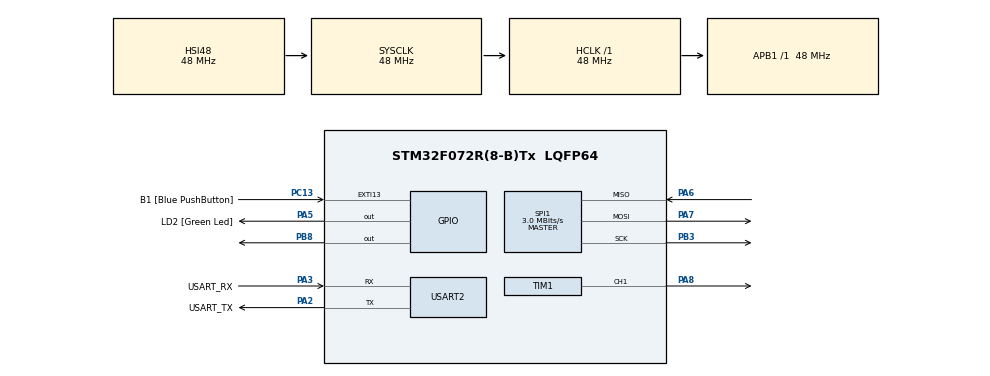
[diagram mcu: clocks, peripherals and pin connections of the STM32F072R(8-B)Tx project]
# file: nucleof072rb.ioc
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Mcu.Family=STM32F0
Mcu.Name=STM32F072R(8-B)Tx
Mcu.Package=LQFP64
PA0.Signal=S_TIM2_CH1_ETR
PA13.GPIO_Label=TMS
PA13.Mode=Serial_Wire
PA13.Signal=SYS_SWDIO
PA14.GPIO_Label=TCK
PA14.Mode=Serial_Wire
PA14.Signal=SYS_SWCLK
PA2.GPIO_Label=USART_TX
PA2.GPIO_Mode=GPIO_MODE_AF_PP
PA2.GPIO_PuPd=GPIO_NOPULL
PA2.GPIO_Speed=GPIO_SPEED_FREQ_LOW
PA2.Mode=Asynchronous
PA2.Signal=USART2_TX
PA3.GPIO_Label=USART_RX
PA3.GPIO_Mode=GPIO_MODE_AF_PP
PA3.GPIO_PuPd=GPIO_NOPULL
PA3.GPIO_Speed=GPIO_SPEED_FREQ_LOW
PA3.Mode=Asynchronous
PA3.Signal=USART2_RX
PA5.GPIO_Label=LD2 [Green Led]
PA5.GPIO_Mode=GPIO_MODE_OUTPUT_PP
PA5.GPIO_PuPd=GPIO_NOPULL
PA5.GPIO_Speed=GPIO_SPEED_FREQ_LOW
PA5.Signal=GPIO_Output
PA6.Mode=Full_Duplex_Master
PA6.Signal=SPI1_MISO
PA7.Mode=Full_Duplex_Master
PA7.Signal=SPI1_MOSI
PA8.Signal=S_TIM1_CH1
PB3.Mode=Full_Duplex_Master
PB3.Signal=SPI1_SCK
PB8.Signal=GPIO_Output
PC13.GPIO_Label=B1 [Blue PushButton]
PC13.GPIO_ModeDefaultEXTI=GPIO_MODE_IT_FALLING
PC13.Signal=GPXTI13
PC14-OSC32_IN.Mode=LSE-External-Oscillator
PC14-OSC32_IN.Signal=RCC_OSC32_IN
PC15-OSC32_OUT.Mode=LSE-External-Oscillator
PC15-OSC32_OUT.Signal=RCC_OSC32_OUT
PF0-OSC_IN.Mode=HSE-External-Clock-Source
PF0-OSC_IN.Signal=RCC_OSC_IN
PF1-OSC_OUT.Signal=RCC_OSC_OUT
ProjectManager.HeapSize=0x200
ProjectManager.StackSize=0x400
ProjectManager.TargetToolchain=STM32CubeIDE
RCC.AHBFreq_Value=48000000
RCC.APB1Freq_Value=48000000
RCC.APB1TimFreq_Value=48000000
RCC.FLatency-AdvancedSettings=FLASH_LATENCY_1
RCC.HCLKFreq_Value=48000000
RCC.PLLDivider=RCC_PREDIV_DIV2
RCC.PLLMUL=RCC_PLL_MUL12
RCC.PREFETCH_ENABLE-AdvancedSettings=1
RCC.SYSCLKFreq_VALUE=48000000
RCC.SYSCLKSource=RCC_SYSCLKSOURCE_HSI48
SH.S_TIM1_CH1.0=TIM1_CH1,PWM Generation1 CH1
SH.S_TIM2_CH1_ETR.0=TIM2_CH1
SPI1.BaudRatePrescaler=SPI_BAUDRATEPRESCALER_16
SPI1.CalculateBaudRate=3.0 MBits/s
SPI1.DataSize=SPI_DATASIZE_8BIT
SPI1.Direction=SPI_DIRECTION_2LINES
SPI1.Mode=SPI_MODE_MASTER
SPI1.VirtualType=VM_MASTER
TIM1.Channel-PWM\ Generation1\ CH1=TIM_CHANNEL_1
TIM1.Period=64000
TIM1.Prescaler=14
USART2.VirtualMode-Asynchronous=VM_ASYNC
VP_TIM1_VS_ClockSourceINT.Mode=Internal
board=NUCLEO-F072RB

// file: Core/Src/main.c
/* USER CODE BEGIN Header */
/**
  ******************************************************************************
  * @file           : main.c
  * @brief          : Main program body
  ******************************************************************************
  * @attention
  *
  * <h2><center>&copy; Copyright (c) 2021 STMicroelectronics.
  * All rights reserved.</center></h2>
  *
  * This software component is licensed by ST under BSD 3-Clause license,
  * the "License"; You may not use this file except in compliance with the
  * License. You may obtain a copy of the License at:
  *                        opensource.org/licenses/BSD-3-Clause
  *
  ******************************************************************************
  */
/* USER CODE END Header */
#include "main.h"
#include "spi.h"
#include "tim.h"
#include "usart.h"
#include "gpio.h"

/* USER CODE BEGIN PV */
const int MAX_VALUE = 1023;

/* USER CODE END PV */

void SystemClock_Config(void);

int main(void)
{

  /* MCU Configuration--------------------------------------------------------*/

  /* Reset of all peripherals, Initializes the Flash interface and the Systick. */
  HAL_Init();

  /* USER CODE BEGIN Init */
//  SPI_HandleTypeDef hspi;
//  HAL_SPI_MspInit(&hspi);

  /* USER CODE END Init */

  /* Configure the system clock */
  SystemClock_Config();

  /* Initialize all configured peripherals */
  MX_GPIO_Init();
  MX_USART2_UART_Init();
  MX_SPI1_Init();
  MX_TIM1_Init();
  /* USER CODE BEGIN 2 */

  // Bring CS line (PB8) high initially
  HAL_GPIO_WritePin(GPIOB, GPIO_PIN_8, GPIO_PIN_SET);

  // Reset compare register
  __HAL_TIM_SET_COMPARE(&htim1, TIM_CHANNEL_1, 0.05 * __HAL_TIM_GET_AUTORELOAD(&htim1));

  // Start timer
  HAL_TIM_PWM_Start(&htim1, TIM_CHANNEL_1);

  /* USER CODE END 2 */

  /* Infinite loop */
  /* USER CODE BEGIN WHILE */
  while (1)
  {
	  // Read and parse data
	  uint16_t data;
	  HAL_StatusTypeDef success = read_adc(&data);

	  if (success == HAL_OK) {
		  uint16_t value = (__HAL_TIM_GET_AUTORELOAD(&htim1) * 0.05) * (1.0 + data / MAX_VALUE);

	  	  __HAL_TIM_SET_COMPARE(&htim1, TIM_CHANNEL_1, value);
	  }

    /* USER CODE END WHILE */

    /* USER CODE BEGIN 3 */
	  HAL_Delay(10);
  }
  /* USER CODE END 3 */
}

void SystemClock_Config(void)
{
  RCC_OscInitTypeDef RCC_OscInitStruct = {0};
  RCC_ClkInitTypeDef RCC_ClkInitStruct = {0};
  RCC_PeriphCLKInitTypeDef PeriphClkInit = {0};

  /** Initializes the RCC Oscillators according to the specified parameters
  * in the RCC_OscInitTypeDef structure.
  */
  RCC_OscInitStruct.OscillatorType = RCC_OSCILLATORTYPE_HSI48;
  RCC_OscInitStruct.HSI48State = RCC_HSI48_ON;
  RCC_OscInitStruct.PLL.PLLState = RCC_PLL_NONE;
  if (HAL_RCC_OscConfig(&RCC_OscInitStruct) != HAL_OK)
  {
    Error_Handler();
  }
  /** Initializes the CPU, AHB and APB buses clocks
  */
  RCC_ClkInitStruct.ClockType = RCC_CLOCKTYPE_HCLK|RCC_CLOCKTYPE_SYSCLK
                              |RCC_CLOCKTYPE_PCLK1;
  RCC_ClkInitStruct.SYSCLKSource = RCC_SYSCLKSOURCE_HSI48;
  RCC_ClkInitStruct.AHBCLKDivider = RCC_SYSCLK_DIV1;
  RCC_ClkInitStruct.APB1CLKDivider = RCC_HCLK_DIV1;

  if (HAL_RCC_ClockConfig(&RCC_ClkInitStruct, FLASH_LATENCY_1) != HAL_OK)
  {
    Error_Handler();
  }
  PeriphClkInit.PeriphClockSelection = RCC_PERIPHCLK_USART2;
  PeriphClkInit.Usart2ClockSelection = RCC_USART2CLKSOURCE_PCLK1;
  if (HAL_RCCEx_PeriphCLKConfig(&PeriphClkInit) != HAL_OK)
  {
    Error_Handler();
  }
}

/* USER CODE BEGIN 4 */

/**
 * @brief This function handles reading and transmitting data to adc. The value received is returned
 * @retval uint16_t
 */
HAL_StatusTypeDef read_adc(uint16_t * data) {
	// Transmit buffer to select CH1
	uint8_t transmit_data[3] = {1, 0b1001 << 4, 0};

	// Receive buffer
	uint8_t receive_data[3];

	// Pull CS to low to start transmitting
	HAL_GPIO_WritePin(GPIOB, GPIO_PIN_8, GPIO_PIN_RESET);

	// Transmit and receive to/from adc
	HAL_StatusTypeDef success = HAL_SPI_TransmitReceive(&hspi1, transmit_data, receive_data, 3, HAL_MAX_DELAY);

	// Stop transmitting
	HAL_GPIO_WritePin(GPIOB, GPIO_PIN_8, GPIO_PIN_SET);

	// If successful, grab the last two bits from the second byte and the last byte
	if (success == HAL_OK) {
		*data = ((receive_data[1] & 0b11) << 8) | receive_data[2];
	}

	return success;
}

/* USER CODE END 4 */

void Error_Handler(void)
{
  __disable_irq();
  while (1)
  {
  }
}

/************************ (C) COPYRIGHT STMicroelectronics *****END OF FILE****/
